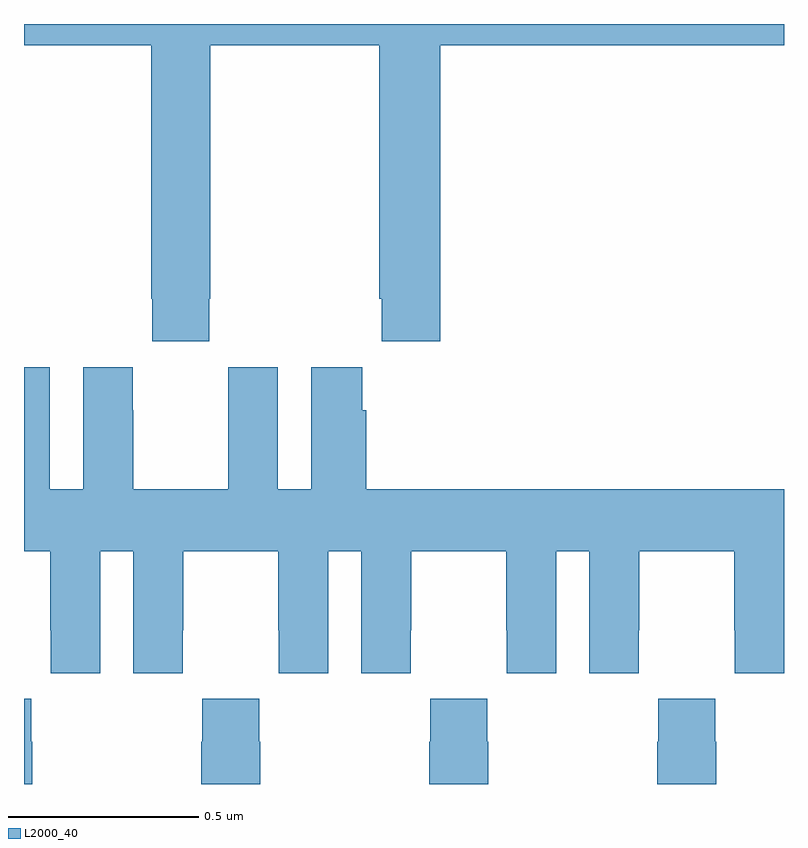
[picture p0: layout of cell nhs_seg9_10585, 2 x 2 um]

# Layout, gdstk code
import gdstk
lib = gdstk.Library(unit=1e-6, precision=1e-09)
def P(c, l, *ps):  # polygons
    for p in ps: c.add(gdstk.Polygon(p, *l))
L2000_40 = (2000, 40)

nhs_seg9_10585 = lib.new_cell('nhs_seg9_10585')
P(nhs_seg9_10585, L2000_40, [(245,1172.444),(245.335,1172.444),(245.335,1171.777),(245.337,1171.777),(245.337,1171.665),(245.487,1171.665),(245.487,1171.777),(245.49,1171.777),(245.49,1172.444),(245.935,1172.444),(245.935,1171.777),(245.941,1171.777),(245.941,1171.665),(246.095,1171.665),(246.095,1172.444),(247,1172.444),(247,1172.5),(245,1172.5)],
  [(245.2,1171.112),(245.288,1171.112),(245.288,1170.792),(245.418,1170.792),(245.418,1170.904),(245.419,1170.904),(245.419,1171.112),(245.669,1171.112),(245.669,1170.904),(245.67,1170.904),(245.67,1170.792),(245.8,1170.792),(245.8,1171.112),(245.888,1171.112),(245.888,1170.792),(246.018,1170.792),(246.018,1170.904),(246.019,1170.904),(246.019,1171.112),(246.269,1171.112),(246.269,1170.904),(246.27,1170.904),(246.27,1170.792),(246.4,1170.792),(246.4,1171.112),(246.488,1171.112),(246.488,1170.792),(246.618,1170.792),(246.618,1170.904),(246.619,1170.904),(246.619,1171.112),(246.869,1171.112),(246.869,1170.904),(246.87,1170.904),(246.87,1170.792),(247,1170.792),(247,1171.276),(245.9,1171.276),(245.9,1171.484),(245.89,1171.484),(245.89,1171.597),(245.756,1171.597),(245.756,1171.276),(245.668,1171.276),(245.668,1171.597),(245.538,1171.597),(245.538,1171.484),(245.537,1171.484),(245.537,1171.276),(245.287,1171.276),(245.287,1171.484),(245.286,1171.484),(245.286,1171.597),(245.156,1171.597),(245.156,1171.276),(245.068,1171.276),(245.068,1171.597),(245,1171.597),(245,1171.112),(245.069,1171.112),(245.069,1170.904),(245.07,1170.904),(245.07,1170.792),(245.2,1170.792)],
  [(245.022,1170.611),(245.019,1170.611),(245.019,1170.724),(245,1170.724),(245,1170.5),(245.022,1170.5)],
  [(245.622,1170.611),(245.619,1170.611),(245.619,1170.724),(245.469,1170.724),(245.469,1170.611),(245.467,1170.611),(245.467,1170.5),(245.622,1170.5)],
  [(246.222,1170.611),(246.219,1170.611),(246.219,1170.724),(246.069,1170.724),(246.069,1170.611),(246.067,1170.611),(246.067,1170.5),(246.222,1170.5)],
  [(246.822,1170.611),(246.819,1170.611),(246.819,1170.724),(246.669,1170.724),(246.669,1170.611),(246.667,1170.611),(246.667,1170.5),(246.822,1170.5)])

lib.write_gds('nhs_seg9_10585.gds')
